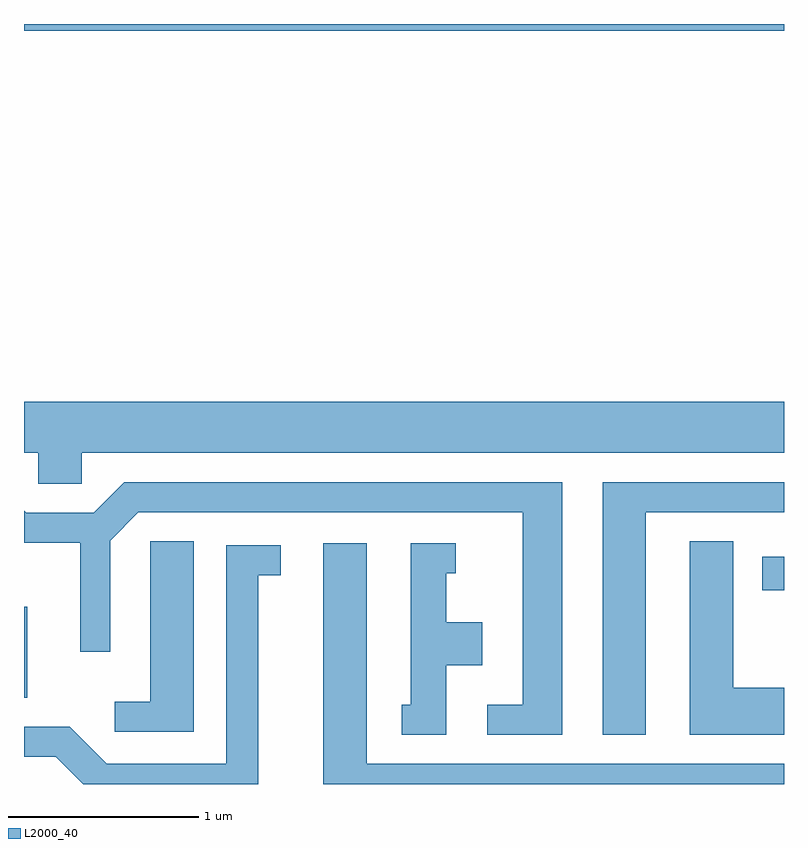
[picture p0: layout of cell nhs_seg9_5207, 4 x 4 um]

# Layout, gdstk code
import gdstk
lib = gdstk.Library(unit=1e-6, precision=1e-09)
def R(c, l, rs):  # rectangles x0, y0, x1, y1
    for r in rs: c.add(gdstk.rectangle(r[:2], r[2:], *l))
def P(c, l, *ps):  # polygons
    for p in ps: c.add(gdstk.Polygon(p, *l))
L2000_40 = (2000, 40)

nhs_seg9_5207 = lib.new_cell('nhs_seg9_5207')
R(nhs_seg9_5207, L2000_40, [(337.611,2074.886,337.629,2075.364), (341.496,2075.451,341.611,2075.629), (337.611,2078.396,341.611,2078.432)])
P(nhs_seg9_5207, L2000_40, [(337.914,2076.176),(341.611,2076.176),(341.611,2076.444),(337.611,2076.444),(337.611,2076.176),(337.686,2076.176),(337.686,2076.011),(337.914,2076.011)],
  [(340.444,2076.019),(338.139,2076.019),(337.979,2075.859),(337.622,2075.859),(337.611,2075.87),(337.611,2075.701),(337.906,2075.701),(337.906,2075.128),(338.064,2075.128),(338.064,2075.713),(338.212,2075.861),(340.236,2075.861),(340.236,2074.849),(340.048,2074.849),(340.048,2074.691),(340.444,2074.691)],
  [(340.884,2075.861),(341.611,2075.861),(341.611,2076.019),(340.656,2076.019),(340.656,2074.691),(340.884,2074.691)],
  [(341.611,2074.939),(341.344,2074.939),(341.344,2075.709),(341.116,2075.709),(341.116,2074.691),(341.611,2074.691)],
  [(338.504,2075.709),(338.276,2075.709),(338.276,2074.864),(338.088,2074.864),(338.088,2074.706),(338.504,2074.706)],
  [(341.611,2074.539),(339.414,2074.539),(339.414,2075.699),(339.186,2075.699),(339.186,2074.432),(341.611,2074.432)],
  [(339.834,2075.056),(340.024,2075.056),(340.024,2075.284),(339.834,2075.284),(339.834,2075.541),(339.883,2075.541),(339.883,2075.699),(339.646,2075.699),(339.646,2074.849),(339.598,2074.849),(339.598,2074.691),(339.834,2074.691)],
  [(338.844,2075.531),(338.963,2075.531),(338.963,2075.689),(338.676,2075.689),(338.676,2074.539),(338.047,2074.539),(337.852,2074.734),(337.611,2074.734),(337.611,2074.576),(337.779,2074.576),(337.923,2074.432),(338.844,2074.432)])

lib.write_gds('nhs_seg9_5207.gds')
